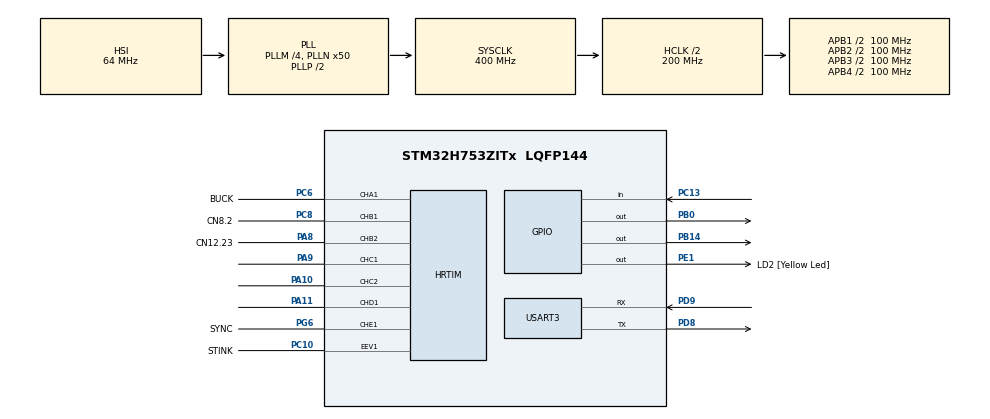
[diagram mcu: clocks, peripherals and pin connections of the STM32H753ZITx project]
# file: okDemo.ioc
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CORTEX_M7.CPU_DCache=Enabled
CORTEX_M7.CPU_ICache=Enabled
CORTEX_M7.MPU_Control=__NULL
CORTEX_M7.default_mode_Activation=1
HRTIM.CompareUnit1-Output_TA1=HRTIM_COMPAREUNIT_1
HRTIM.CompareUnit1-Output_TB1TB2=HRTIM_COMPAREUNIT_1
HRTIM.CompareUnit1-Output_TE1=HRTIM_COMPAREUNIT_1
HRTIM.CompareUnit2-Output_TB1TB2=HRTIM_COMPAREUNIT_2
HRTIM.CompareUnit3-Output_TB1TB2=HRTIM_COMPAREUNIT_3
HRTIM.CompareValue1-Output_TA1=25000
HRTIM.CompareValue1-Output_TB1TB2=19000
HRTIM.CompareValue1-Output_TE1=1000
HRTIM.CompareValue2-Output_TB1TB2=1000
HRTIM.CompareValue3-Output_TB1TB2=20000
HRTIM.Deadtimeconfig-Output_TB1TB2=__NULL
HRTIM.NumberResetSource1-Output_TA1=3
HRTIM.NumberResetSource1-Output_TB1TB2=1
HRTIM.NumberResetSource1-Output_TE1=1
HRTIM.NumberResetSource2_TB=1
HRTIM.NumberSetSource1-Output_TA1=1
HRTIM.NumberSetSource1-Output_TB1TB2=1
HRTIM.NumberSetSource1-Output_TE1=1
HRTIM.NumberSetSource2_TB=1
HRTIM.Periode_TA=40000
HRTIM.Periode_TB=40000
HRTIM.Periode_TE=39999
HRTIM.Polarity1-Output_TE1=HRTIM_OUTPUTPOLARITY_LOW
HRTIM.Polarity2-Output_TB1TB2=HRTIM_OUTPUTPOLARITY_LOW
HRTIM.Polarity_EEV1=HRTIM_EVENTPOLARITY_LOW
HRTIM.ResetOutput1_Source1-Output_TA1=HRTIM_OUTPUTRESET_TIMCMP1
HRTIM.ResetOutput1_Source1-Output_TB1TB2=HRTIM_OUTPUTRESET_TIMCMP3
HRTIM.ResetOutput1_Source1-Output_TE1=HRTIM_OUTPUTRESET_TIMCMP1
HRTIM.ResetOutput1_Source2-Output_TA1=HRTIM_OUTPUTRESET_UPDATE
HRTIM.ResetOutput1_Source3-Output_TA1=HRTIM_OUTPUTRESET_EEV_1
HRTIM.ResetOutput2_Source1-Output_TB1TB2=HRTIM_OUTPUTRESET_TIMCMP1
HRTIM.SetOutput1_Source1-Output_TA1=HRTIM_OUTPUTSET_TIMPER
HRTIM.SetOutput1_Source1-Output_TB1TB2=HRTIM_OUTPUTSET_TIMPER
HRTIM.SetOutput1_Source1-Output_TE1=HRTIM_OUTPUTSET_TIMPER
HRTIM.SetOutput2_Source1-Output_TB1TB2=HRTIM_OUTPUTSET_TIMCMP2
Mcu.Family=STM32H7
Mcu.Name=STM32H753ZITx
Mcu.Package=LQFP144
NUCLEO-H753ZI.BUTTON=1
NUCLEO-H753ZI.Bsp_Common_DEMO=true
NUCLEO-H753ZI.LD1=true
NUCLEO-H753ZI.LD2=true
NUCLEO-H753ZI.LD3=true
NUCLEO-H753ZI.VCP=false
NVIC.EXTI15_10_IRQn=true\:0\:0\:false\:false\:true\:false\:true\:true
NVIC.HASH_RNG_IRQn=true\:0\:0\:false\:false\:true\:true\:true\:true
NVIC.PriorityGroup=NVIC_PRIORITYGROUP_4
NVIC.TIM17_IRQn=true\:15\:0\:false\:false\:true\:false\:true\:true
NVIC.TimeBase=TIM17_IRQn
NVIC.TimeBaseIP=TIM17
PA10.Mode=Output_TC1TC2
PA10.Signal=HRTIM_CHC2
PA11.Mode=Output_TD1
PA11.Signal=HRTIM_CHD1
PA8.GPIO_Label=CN12.23
PA8.GPIO_Speed_High_Default=GPIO_SPEED_FREQ_MEDIUM
PA8.Mode=Output_TB1TB2
PA8.Signal=HRTIM_CHB2
PA9.Mode=Output_TC1TC2
PA9.Signal=HRTIM_CHC1
PB0.Signal=GPIO_Output
PB14.Signal=GPIO_Output
PC10.GPIO_Label=STINK
PC10.GPIO_PuPd=GPIO_PULLUP
PC10.Mode=External_Evt_enable1
PC10.Signal=HRTIM_EEV1
PC13.Signal=GPIO_Input
PC14-OSC32_IN\ (OSC32_IN).Signal=RCC_OSC32_IN
PC15-OSC32_OUT\ (OSC32_OUT).Signal=RCC_OSC32_OUT
PC6.GPIO_Label=BUCK
PC6.Mode=Output_TA1
PC6.Signal=HRTIM_CHA1
PC8.GPIO_Label=CN8.2
PC8.GPIO_Speed_High_Default=GPIO_SPEED_FREQ_MEDIUM
PC8.Mode=Output_TB1TB2
PC8.Signal=HRTIM_CHB1
PD8.Mode=Asynchronous
PD8.Signal=USART3_TX
PD9.Mode=Asynchronous
PD9.Signal=USART3_RX
PE1.GPIO_Label=LD2 [Yellow Led]
PE1.Signal=GPIO_Output
PG6.GPIO_Label=SYNC
PG6.Mode=Output_TE1
PG6.Signal=HRTIM_CHE1
PH0-OSC_IN\ (PH0).Signal=RCC_OSC_IN
PH1-OSC_OUT\ (PH1).Signal=RCC_OSC_OUT
ProjectManager.HeapSize=0x200
ProjectManager.StackSize=0x400
ProjectManager.TargetToolchain=STM32CubeIDE
RCC.ADCFreq_Value=129000000
RCC.APB1Freq_Value=100000000
RCC.APB2Freq_Value=100000000
RCC.APB3Freq_Value=100000000
RCC.APB4Freq_Value=100000000
RCC.CortexFreq_Value=400000000
RCC.D1PPRE=RCC_APB3_DIV2
RCC.D2PPRE1=RCC_APB1_DIV2
RCC.D2PPRE2=RCC_APB2_DIV2
RCC.D3PPRE=RCC_APB4_DIV2
RCC.DIVM1=4
RCC.DIVN1=50
RCC.DIVQ1=4
RCC.HCLKFreq_Value=200000000
RCC.HPRE=RCC_HCLK_DIV2
RCC.HRTIMCLockSelection=RCC_HRTIM1CLK_CPUCLK
RCC.HSE_VALUE=8000000
RCC.PLLFRACN=0
RCC.PWR_Regulator_Voltage_Scale=PWR_REGULATOR_VOLTAGE_SCALE1
RCC.SYSCLKFreq_VALUE=400000000
RCC.SYSCLKSource=RCC_SYSCLKSOURCE_PLLCLK
RCC.USBFreq_Value=200000000
USART3.VirtualMode-Asynchronous=VM_ASYNC
VP_MEMORYMAP_VS_MEMORYMAP.Mode=CurAppReg
VP_NUCLEO-H753ZI_VS_BSP_COMMON.Mode=COMMON
VP_RNG_VS_RNG.Mode=RNG_Activate
VP_SYS_VS_tim17.Mode=TIM17
board=NUCLEO-H753ZI

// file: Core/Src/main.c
/* USER CODE BEGIN Header */
/**
  ******************************************************************************
  * @file           : main.c
  * @brief          : Main program body
  ******************************************************************************
  * @attention
  *
  * Copyright (c) 2025 STMicroelectronics.
  * All rights reserved.
  *
  * This software is licensed under terms that can be found in the LICENSE file
  * in the root directory of this software component.
  * If no LICENSE file comes with this software, it is provided AS-IS.
  *
  ******************************************************************************
  */
/* USER CODE END Header */
#include "main.h"

/* USER CODE BEGIN Includes */
#include "../App/app.h"
/* USER CODE END Includes */

__IO uint32_t BspButtonState = BUTTON_RELEASED;

HRTIM_HandleTypeDef hhrtim;

RNG_HandleTypeDef hrng;

UART_HandleTypeDef huart3;

void SystemClock_Config(void);
static void MX_GPIO_Init(void);
static void MX_USART3_UART_Init(void);
static void MX_HRTIM_Init(void);
static void MX_RNG_Init(void);

int main(void)
{

  /* Enable the CPU Cache */

  /* Enable I-Cache---------------------------------------------------------*/
  SCB_EnableICache();

  /* Enable D-Cache---------------------------------------------------------*/
  SCB_EnableDCache();

  /* MCU Configuration--------------------------------------------------------*/

  /* Reset of all peripherals, Initializes the Flash interface and the Systick. */
  HAL_Init();

  /* Configure the system clock */
  SystemClock_Config();

  /* Initialize all configured peripherals */
  MX_GPIO_Init();
  MX_USART3_UART_Init();
  MX_HRTIM_Init();
  MX_RNG_Init();
  /* USER CODE BEGIN 2 */
  HAL_HRTIM_WaveformOutputStart(&hhrtim, HRTIM_OUTPUT_TA1);  // Enable the generation of the waveform signal on the designated output
  HAL_HRTIM_WaveformCounterStart(&hhrtim, HRTIM_TIMERID_TIMER_A);  // Start the counter of the Timer A operating in waveform mode
  HAL_HRTIM_WaveformOutputStart(&hhrtim, HRTIM_OUTPUT_TB1);  // Enable the generation of the waveform signal on the designated output
  HAL_HRTIM_WaveformOutputStart(&hhrtim, HRTIM_OUTPUT_TB2);  // Enable the generation of the waveform signal on the designated output
  HAL_HRTIM_WaveformCounterStart(&hhrtim, HRTIM_TIMERID_TIMER_B);  // Start the counter of the Timer A operating in waveform mode
  HAL_HRTIM_WaveformOutputStart(&hhrtim, HRTIM_OUTPUT_TE1);  // Enable the generation of the waveform signal on the designated output
  HAL_HRTIM_WaveformCounterStart(&hhrtim, HRTIM_TIMERID_TIMER_E);  // Start the counter of the Timer E operating in waveform mode

  /* USER CODE END 2 */

  /* Initialize leds */
  BSP_LED_Init(LED_GREEN);
  BSP_LED_Init(LED_BLUE);
  BSP_LED_Init(LED_RED);

  /* Initialize USER push-button, will be used to trigger an interrupt each time it's pressed.*/
  BSP_PB_Init(BUTTON_USER, BUTTON_MODE_EXTI);

  /* USER CODE BEGIN BSP */

  /* -- Sample board code to switch on leds ---- */
  BSP_LED_On(LED_GREEN);
  BSP_LED_On(LED_BLUE);
  BSP_LED_On(LED_RED);

  /* USER CODE END BSP */

  /* Infinite loop */
  /* USER CODE BEGIN WHILE */
  ApplicationInit();
  while (1)
  {
	  ApplicationStep();

    /* -- Sample board code for User push-button in interrupt mode ---- */
    if (BspButtonState == BUTTON_PRESSED)
    {
      /* Update button state */
      BspButtonState = BUTTON_RELEASED;
      /* -- Sample board code to toggle leds ---- */
      BSP_LED_Toggle(LED_GREEN);
      BSP_LED_Toggle(LED_BLUE);
      BSP_LED_Toggle(LED_RED);

      /* ..... Perform your action ..... */
    }
    /* USER CODE END WHILE */

  }
}

void SystemClock_Config(void)
{
  RCC_OscInitTypeDef RCC_OscInitStruct = {0};
  RCC_ClkInitTypeDef RCC_ClkInitStruct = {0};

  /** Supply configuration update enable
  */
  HAL_PWREx_ConfigSupply(PWR_LDO_SUPPLY);

  /** Configure the main internal regulator output voltage
  */
  __HAL_PWR_VOLTAGESCALING_CONFIG(PWR_REGULATOR_VOLTAGE_SCALE1);

  while(!__HAL_PWR_GET_FLAG(PWR_FLAG_VOSRDY)) {}

  /** Initializes the RCC Oscillators according to the specified parameters
  * in the RCC_OscInitTypeDef structure.
  */
  RCC_OscInitStruct.OscillatorType = RCC_OSCILLATORTYPE_HSI48|RCC_OSCILLATORTYPE_HSI;
  RCC_OscInitStruct.HSIState = RCC_HSI_DIV1;
  RCC_OscInitStruct.HSICalibrationValue = RCC_HSICALIBRATION_DEFAULT;
  RCC_OscInitStruct.HSI48State = RCC_HSI48_ON;
  RCC_OscInitStruct.PLL.PLLState = RCC_PLL_ON;
  RCC_OscInitStruct.PLL.PLLSource = RCC_PLLSOURCE_HSI;
  RCC_OscInitStruct.PLL.PLLM = 4;
  RCC_OscInitStruct.PLL.PLLN = 50;
  RCC_OscInitStruct.PLL.PLLP = 2;
  RCC_OscInitStruct.PLL.PLLQ = 4;
  RCC_OscInitStruct.PLL.PLLR = 2;
  RCC_OscInitStruct.PLL.PLLRGE = RCC_PLL1VCIRANGE_3;
  RCC_OscInitStruct.PLL.PLLVCOSEL = RCC_PLL1VCOWIDE;
  RCC_OscInitStruct.PLL.PLLFRACN = 0;
  if (HAL_RCC_OscConfig(&RCC_OscInitStruct) != HAL_OK)
  {
    Error_Handler();
  }

  /** Initializes the CPU, AHB and APB buses clocks
  */
  RCC_ClkInitStruct.ClockType = RCC_CLOCKTYPE_HCLK|RCC_CLOCKTYPE_SYSCLK
                              |RCC_CLOCKTYPE_PCLK1|RCC_CLOCKTYPE_PCLK2
                              |RCC_CLOCKTYPE_D3PCLK1|RCC_CLOCKTYPE_D1PCLK1;
  RCC_ClkInitStruct.SYSCLKSource = RCC_SYSCLKSOURCE_PLLCLK;
  RCC_ClkInitStruct.SYSCLKDivider = RCC_SYSCLK_DIV1;
  RCC_ClkInitStruct.AHBCLKDivider = RCC_HCLK_DIV2;
  RCC_ClkInitStruct.APB3CLKDivider = RCC_APB3_DIV2;
  RCC_ClkInitStruct.APB1CLKDivider = RCC_APB1_DIV2;
  RCC_ClkInitStruct.APB2CLKDivider = RCC_APB2_DIV2;
  RCC_ClkInitStruct.APB4CLKDivider = RCC_APB4_DIV2;

  if (HAL_RCC_ClockConfig(&RCC_ClkInitStruct, FLASH_LATENCY_2) != HAL_OK)
  {
    Error_Handler();
  }
}

static void MX_HRTIM_Init(void)
{

  HRTIM_EventCfgTypeDef pEventCfg = {0};
  HRTIM_TimeBaseCfgTypeDef pTimeBaseCfg = {0};
  HRTIM_TimerCfgTypeDef pTimerCfg = {0};
  HRTIM_CompareCfgTypeDef pCompareCfg = {0};
  HRTIM_OutputCfgTypeDef pOutputCfg = {0};

  hhrtim.Instance = HRTIM1;
  hhrtim.Init.HRTIMInterruptResquests = HRTIM_IT_NONE;
  hhrtim.Init.SyncOptions = HRTIM_SYNCOPTION_NONE;
  if (HAL_HRTIM_Init(&hhrtim) != HAL_OK)
  {
    Error_Handler();
  }
  if (HAL_HRTIM_EventPrescalerConfig(&hhrtim, HRTIM_EVENTPRESCALER_DIV1) != HAL_OK)
  {
    Error_Handler();
  }
  pEventCfg.Source = HRTIM_EVENTSRC_1;
  pEventCfg.Polarity = HRTIM_EVENTPOLARITY_LOW;
  pEventCfg.Sensitivity = HRTIM_EVENTSENSITIVITY_LEVEL;
  pEventCfg.FastMode = HRTIM_EVENTFASTMODE_DISABLE;
  if (HAL_HRTIM_EventConfig(&hhrtim, HRTIM_EVENT_1, &pEventCfg) != HAL_OK)
  {
    Error_Handler();
  }
  pTimeBaseCfg.Period = 40000;
  pTimeBaseCfg.RepetitionCounter = 0x00;
  pTimeBaseCfg.PrescalerRatio = HRTIM_PRESCALERRATIO_DIV1;
  pTimeBaseCfg.Mode = HRTIM_MODE_CONTINUOUS;
  if (HAL_HRTIM_TimeBaseConfig(&hhrtim, HRTIM_TIMERINDEX_TIMER_A, &pTimeBaseCfg) != HAL_OK)
  {
    Error_Handler();
  }
  pTimerCfg.InterruptRequests = HRTIM_TIM_IT_NONE;
  pTimerCfg.DMARequests = HRTIM_TIM_DMA_NONE;
  pTimerCfg.DMASrcAddress = 0x0000;
  pTimerCfg.DMADstAddress = 0x0000;
  pTimerCfg.DMASize = 0x1;
  pTimerCfg.HalfModeEnable = HRTIM_HALFMODE_DISABLED;
  pTimerCfg.StartOnSync = HRTIM_SYNCSTART_DISABLED;
  pTimerCfg.ResetOnSync = HRTIM_SYNCRESET_DISABLED;
  pTimerCfg.DACSynchro = HRTIM_DACSYNC_NONE;
  pTimerCfg.PreloadEnable = HRTIM_PRELOAD_DISABLED;
  pTimerCfg.UpdateGating = HRTIM_UPDATEGATING_INDEPENDENT;
  pTimerCfg.BurstMode = HRTIM_TIMERBURSTMODE_MAINTAINCLOCK;
  pTimerCfg.RepetitionUpdate = HRTIM_UPDATEONREPETITION_DISABLED;
  pTimerCfg.PushPull = HRTIM_TIMPUSHPULLMODE_DISABLED;
  pTimerCfg.FaultEnable = HRTIM_TIMFAULTENABLE_NONE;
  pTimerCfg.FaultLock = HRTIM_TIMFAULTLOCK_READWRITE;
  pTimerCfg.DeadTimeInsertion = HRTIM_TIMDEADTIMEINSERTION_DISABLED;
  pTimerCfg.DelayedProtectionMode = HRTIM_TIMER_A_B_C_DELAYEDPROTECTION_DISABLED;
  pTimerCfg.UpdateTrigger = HRTIM_TIMUPDATETRIGGER_NONE;
  pTimerCfg.ResetTrigger = HRTIM_TIMRESETTRIGGER_NONE;
  pTimerCfg.ResetUpdate = HRTIM_TIMUPDATEONRESET_DISABLED;
  if (HAL_HRTIM_WaveformTimerConfig(&hhrtim, HRTIM_TIMERINDEX_TIMER_A, &pTimerCfg) != HAL_OK)
  {
    Error_Handler();
  }
  if (HAL_HRTIM_WaveformTimerConfig(&hhrtim, HRTIM_TIMERINDEX_TIMER_B, &pTimerCfg) != HAL_OK)
  {
    Error_Handler();
  }
  if (HAL_HRTIM_WaveformTimerConfig(&hhrtim, HRTIM_TIMERINDEX_TIMER_C, &pTimerCfg) != HAL_OK)
  {
    Error_Handler();
  }
  pTimerCfg.DelayedProtectionMode = HRTIM_TIMER_D_E_DELAYEDPROTECTION_DISABLED;
  if (HAL_HRTIM_WaveformTimerConfig(&hhrtim, HRTIM_TIMERINDEX_TIMER_D, &pTimerCfg) != HAL_OK)
  {
    Error_Handler();
  }
  if (HAL_HRTIM_WaveformTimerConfig(&hhrtim, HRTIM_TIMERINDEX_TIMER_E, &pTimerCfg) != HAL_OK)
  {
    Error_Handler();
  }
  pCompareCfg.CompareValue = 25000;
  if (HAL_HRTIM_WaveformCompareConfig(&hhrtim, HRTIM_TIMERINDEX_TIMER_A, HRTIM_COMPAREUNIT_1, &pCompareCfg) != HAL_OK)
  {
    Error_Handler();
  }
  pCompareCfg.CompareValue = 1000;
  pCompareCfg.AutoDelayedMode = HRTIM_AUTODELAYEDMODE_REGULAR;
  pCompareCfg.AutoDelayedTimeout = 0x0000;

  if (HAL_HRTIM_WaveformCompareConfig(&hhrtim, HRTIM_TIMERINDEX_TIMER_B, HRTIM_COMPAREUNIT_2, &pCompareCfg) != HAL_OK)
  {
    Error_Handler();
  }
  pOutputCfg.Polarity = HRTIM_OUTPUTPOLARITY_HIGH;
  pOutputCfg.SetSource = HRTIM_OUTPUTSET_TIMPER;
  pOutputCfg.ResetSource = HRTIM_OUTPUTRESET_TIMCMP1|HRTIM_OUTPUTRESET_UPDATE
                              |HRTIM_OUTPUTRESET_EEV_1;
  pOutputCfg.IdleMode = HRTIM_OUTPUTIDLEMODE_NONE;
  pOutputCfg.IdleLevel = HRTIM_OUTPUTIDLELEVEL_INACTIVE;
  pOutputCfg.FaultLevel = HRTIM_OUTPUTFAULTLEVEL_NONE;
  pOutputCfg.ChopperModeEnable = HRTIM_OUTPUTCHOPPERMODE_DISABLED;
  pOutputCfg.BurstModeEntryDelayed = HRTIM_OUTPUTBURSTMODEENTRY_REGULAR;
  if (HAL_HRTIM_WaveformOutputConfig(&hhrtim, HRTIM_TIMERINDEX_TIMER_A, HRTIM_OUTPUT_TA1, &pOutputCfg) != HAL_OK)
  {
    Error_Handler();
  }
  pOutputCfg.ResetSource = HRTIM_OUTPUTRESET_TIMCMP3;
  if (HAL_HRTIM_WaveformOutputConfig(&hhrtim, HRTIM_TIMERINDEX_TIMER_B, HRTIM_OUTPUT_TB1, &pOutputCfg) != HAL_OK)
  {
    Error_Handler();
  }
  pOutputCfg.SetSource = HRTIM_OUTPUTSET_NONE;
  pOutputCfg.ResetSource = HRTIM_OUTPUTRESET_NONE;
  if (HAL_HRTIM_WaveformOutputConfig(&hhrtim, HRTIM_TIMERINDEX_TIMER_C, HRTIM_OUTPUT_TC1, &pOutputCfg) != HAL_OK)
  {
    Error_Handler();
  }
  if (HAL_HRTIM_WaveformOutputConfig(&hhrtim, HRTIM_TIMERINDEX_TIMER_D, HRTIM_OUTPUT_TD1, &pOutputCfg) != HAL_OK)
  {
    Error_Handler();
  }
  pOutputCfg.Polarity = HRTIM_OUTPUTPOLARITY_LOW;
  pOutputCfg.SetSource = HRTIM_OUTPUTSET_TIMPER;
  pOutputCfg.ResetSource = HRTIM_OUTPUTRESET_TIMCMP1;
  if (HAL_HRTIM_WaveformOutputConfig(&hhrtim, HRTIM_TIMERINDEX_TIMER_E, HRTIM_OUTPUT_TE1, &pOutputCfg) != HAL_OK)
  {
    Error_Handler();
  }
  if (HAL_HRTIM_TimeBaseConfig(&hhrtim, HRTIM_TIMERINDEX_TIMER_B, &pTimeBaseCfg) != HAL_OK)
  {
    Error_Handler();
  }
  pCompareCfg.CompareValue = 19000;
  if (HAL_HRTIM_WaveformCompareConfig(&hhrtim, HRTIM_TIMERINDEX_TIMER_B, HRTIM_COMPAREUNIT_1, &pCompareCfg) != HAL_OK)
  {
    Error_Handler();
  }
  pCompareCfg.CompareValue = 20000;
  if (HAL_HRTIM_WaveformCompareConfig(&hhrtim, HRTIM_TIMERINDEX_TIMER_B, HRTIM_COMPAREUNIT_3, &pCompareCfg) != HAL_OK)
  {
    Error_Handler();
  }
  pOutputCfg.SetSource = HRTIM_OUTPUTSET_TIMCMP2;
  if (HAL_HRTIM_WaveformOutputConfig(&hhrtim, HRTIM_TIMERINDEX_TIMER_B, HRTIM_OUTPUT_TB2, &pOutputCfg) != HAL_OK)
  {
    Error_Handler();
  }
  pOutputCfg.Polarity = HRTIM_OUTPUTPOLARITY_HIGH;
  pOutputCfg.SetSource = HRTIM_OUTPUTSET_NONE;
  pOutputCfg.ResetSource = HRTIM_OUTPUTRESET_NONE;
  if (HAL_HRTIM_WaveformOutputConfig(&hhrtim, HRTIM_TIMERINDEX_TIMER_C, HRTIM_OUTPUT_TC2, &pOutputCfg) != HAL_OK)
  {
    Error_Handler();
  }
  pTimeBaseCfg.Period = 0xFFFD;
  if (HAL_HRTIM_TimeBaseConfig(&hhrtim, HRTIM_TIMERINDEX_TIMER_C, &pTimeBaseCfg) != HAL_OK)
  {
    Error_Handler();
  }
  if (HAL_HRTIM_TimeBaseConfig(&hhrtim, HRTIM_TIMERINDEX_TIMER_D, &pTimeBaseCfg) != HAL_OK)
  {
    Error_Handler();
  }
  pTimeBaseCfg.Period = 39999;
  if (HAL_HRTIM_TimeBaseConfig(&hhrtim, HRTIM_TIMERINDEX_TIMER_E, &pTimeBaseCfg) != HAL_OK)
  {
    Error_Handler();
  }
  pCompareCfg.CompareValue = 1000;
  if (HAL_HRTIM_WaveformCompareConfig(&hhrtim, HRTIM_TIMERINDEX_TIMER_E, HRTIM_COMPAREUNIT_1, &pCompareCfg) != HAL_OK)
  {
    Error_Handler();
  }
  HAL_HRTIM_MspPostInit(&hhrtim);

}

static void MX_RNG_Init(void)
{

  hrng.Instance = RNG;
  hrng.Init.ClockErrorDetection = RNG_CED_ENABLE;
  if (HAL_RNG_Init(&hrng) != HAL_OK)
  {
    Error_Handler();
  }

}

static void MX_USART3_UART_Init(void)
{

  huart3.Instance = USART3;
  huart3.Init.BaudRate = 115200;
  huart3.Init.WordLength = UART_WORDLENGTH_8B;
  huart3.Init.StopBits = UART_STOPBITS_1;
  huart3.Init.Parity = UART_PARITY_NONE;
  huart3.Init.Mode = UART_MODE_TX_RX;
  huart3.Init.HwFlowCtl = UART_HWCONTROL_NONE;
  huart3.Init.OverSampling = UART_OVERSAMPLING_16;
  huart3.Init.OneBitSampling = UART_ONE_BIT_SAMPLE_DISABLE;
  huart3.Init.ClockPrescaler = UART_PRESCALER_DIV1;
  huart3.AdvancedInit.AdvFeatureInit = UART_ADVFEATURE_NO_INIT;
  if (HAL_UART_Init(&huart3) != HAL_OK)
  {
    Error_Handler();
  }
  if (HAL_UARTEx_SetTxFifoThreshold(&huart3, UART_TXFIFO_THRESHOLD_1_8) != HAL_OK)
  {
    Error_Handler();
  }
  if (HAL_UARTEx_SetRxFifoThreshold(&huart3, UART_RXFIFO_THRESHOLD_1_8) != HAL_OK)
  {
    Error_Handler();
  }
  if (HAL_UARTEx_DisableFifoMode(&huart3) != HAL_OK)
  {
    Error_Handler();
  }

}

static void MX_GPIO_Init(void)
{
  GPIO_InitTypeDef GPIO_InitStruct = {0};

  /* GPIO Ports Clock Enable */
  __HAL_RCC_GPIOC_CLK_ENABLE();
  __HAL_RCC_GPIOH_CLK_ENABLE();
  __HAL_RCC_GPIOD_CLK_ENABLE();
  __HAL_RCC_GPIOG_CLK_ENABLE();
  __HAL_RCC_GPIOA_CLK_ENABLE();
  __HAL_RCC_GPIOE_CLK_ENABLE();

  /*Configure GPIO pin Output Level */
  HAL_GPIO_WritePin(LD2_GPIO_Port, LD2_Pin, GPIO_PIN_RESET);

  /*Configure GPIO pin : LD2_Pin */
  GPIO_InitStruct.Pin = LD2_Pin;
  GPIO_InitStruct.Mode = GPIO_MODE_OUTPUT_PP;
  GPIO_InitStruct.Pull = GPIO_NOPULL;
  GPIO_InitStruct.Speed = GPIO_SPEED_FREQ_LOW;
  HAL_GPIO_Init(LD2_GPIO_Port, &GPIO_InitStruct);

}

void HAL_TIM_PeriodElapsedCallback(TIM_HandleTypeDef *htim)
{
  if (htim->Instance == TIM17)
  {
    HAL_IncTick();
  }
}

/**
  * @brief BSP Push Button callback
  * @param Button Specifies the pressed button
  * @retval None
  */
void BSP_PB_Callback(Button_TypeDef Button)
{
  if (Button == BUTTON_USER)
  {
    BspButtonState = BUTTON_PRESSED;
  }
}

void Error_Handler(void)
{
  __disable_irq();
  while (1)
  {
  }
}
